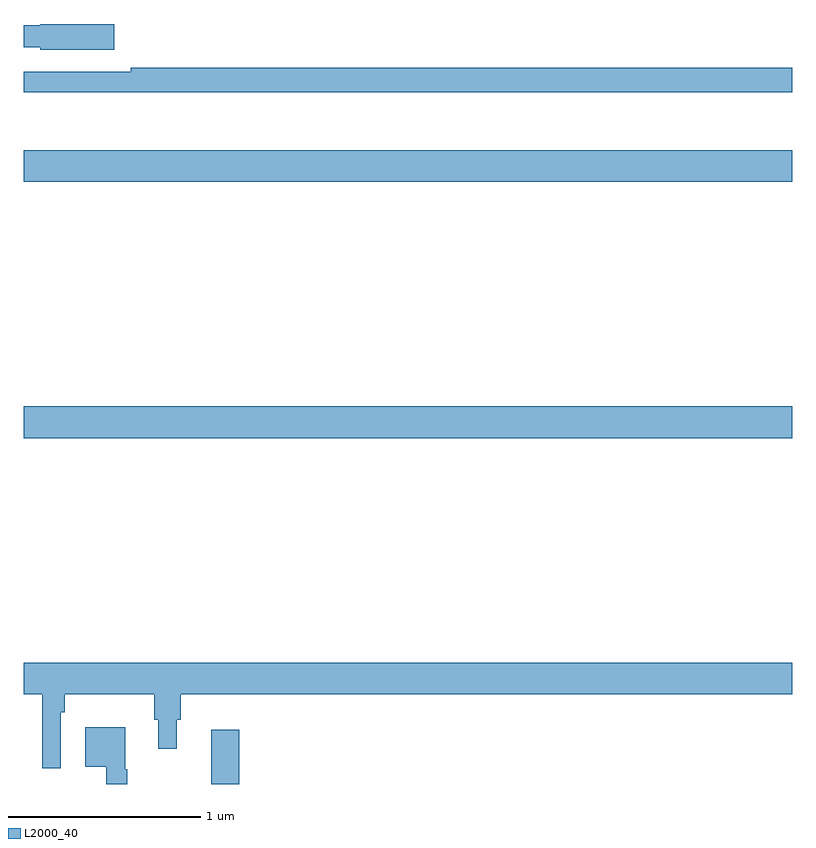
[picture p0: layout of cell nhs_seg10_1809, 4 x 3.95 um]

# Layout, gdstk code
import gdstk
lib = gdstk.Library(unit=1e-6, precision=1e-09)
def R(c, l, rs):  # rectangles x0, y0, x1, y1
    for r in rs: c.add(gdstk.rectangle(r[:2], r[2:], *l))
def P(c, l, *ps):  # polygons
    for p in ps: c.add(gdstk.Polygon(p, *l))
L2000_40 = (2000, 40)

nhs_seg10_1809 = lib.new_cell('nhs_seg10_1809')
R(nhs_seg10_1809, L2000_40, [(205.976,1314.5,206.123,1314.781), (205,1316.3,209,1316.464), (205,1317.632,209,1317.796)])
P(nhs_seg10_1809, L2000_40, [(205.471,1318.454),(205.086,1318.454),(205.086,1318.448),(205,1318.448),(205,1318.332),(205.086,1318.332),(205.086,1318.319),(205.471,1318.319)],
  [(209,1318.226),(205.558,1318.226),(205.558,1318.206),(205,1318.206),(205,1318.098),(209,1318.098)],
  [(205.194,1314.872),(205.214,1314.872),(205.214,1314.968),(205.681,1314.968),(205.681,1314.834),(205.7,1314.834),(205.7,1314.684),(205.798,1314.684),(205.798,1314.834),(205.817,1314.834),(205.817,1314.968),(209,1314.968),(209,1315.132),(205,1315.132),(205,1314.968),(205.097,1314.968),(205.097,1314.582),(205.194,1314.582)],
  [(205.54,1314.576),(205.528,1314.576),(205.528,1314.796),(205.322,1314.796),(205.322,1314.59),(205.431,1314.59),(205.431,1314.5),(205.54,1314.5)])

lib.write_gds('nhs_seg10_1809.gds')
